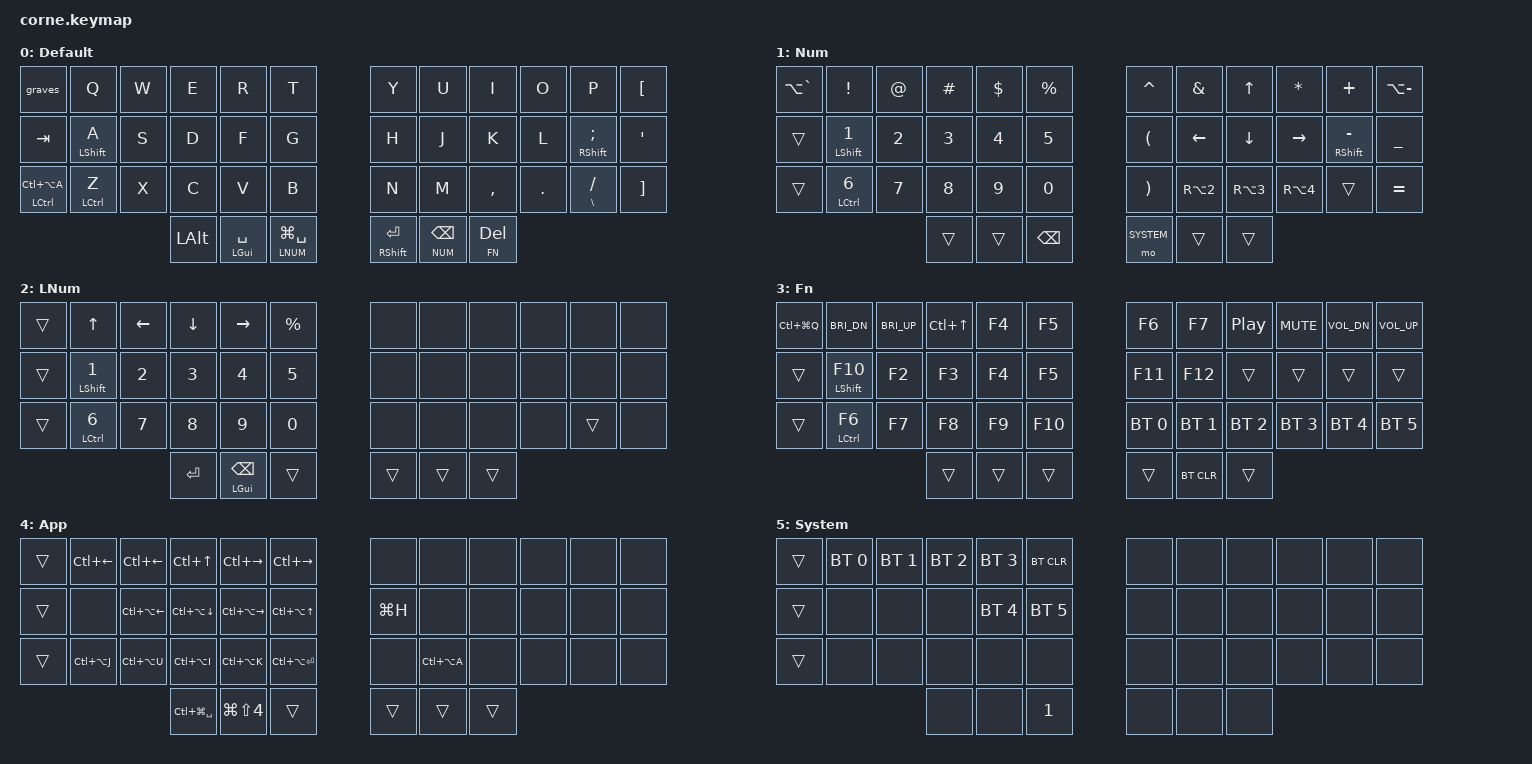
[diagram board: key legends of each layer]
/*
 * Copyright (c) 2020 The ZMK Contributors
 *
 * SPDX-License-Identifier: MIT
 */

#include <behaviors.dtsi>
#include <dt-bindings/zmk/keys.h>
#include <dt-bindings/zmk/bt.h>
#include <dt-bindings/zmk/outputs.h>

/* Слои клавиатуры */
#define DEFAULT 0  // Базовый слой
#define NUM     1  // Слой с цифрами
#define LNUM    2  // Альтернативный слой с цифрами (левая рука)
#define FN      3  // Функциональный слой
#define APP     4  // Слой для приложений
#define SYSTEM  5  // Системный слой

&lt { quick-tap-ms = <200>; };
&mt { quick-tap-ms = <200>; };


/ {
    combos {
        compatible = "zmk,combos";
        /* Комбо для клавиш F и J, теперь включает Caps Word */
        // combo_capslock_fj {
        //     timeout-ms = <50>;
        //     key-positions = <16 19>;
        //     bindings = <&caps_word>;
        // };
        
        /* Комбо для клавиш A и SEMI, используемое для активации capslock */
        combo_caps_asemi{
            timeout-ms = <50>;
            key-positions = <13 22>;
            bindings = <&kp CAPSLOCK>;
        };
    };

    behaviors {
        /* Модификатор для клавиши Grave/Escape */
        graves: grave_escape {
            compatible = "zmk,behavior-mod-morph";
            #binding-cells = <0>;
            bindings = <&lhp APP GRAVE>, <&kp ESC>; 
            mods = <(MOD_LGUI|MOD_RGUI)>;
        };
        
        /* Модификаторы для домашнего ряда (HOMEROW) */
        hm: homerow_mods {
            compatible = "zmk,behavior-hold-tap";
            #binding-cells = <2>;
            quick-tap-ms = <300>;
            flavor = "tap-preferred";
            bindings = <&kp>, <&kp>;
        };

        /* Модификаторы для домашнего ряда без быстрого тапа */
        hmt: homerow_mods_no_quicktap {
            compatible = "zmk,behavior-hold-tap";
            #binding-cells = <2>;
            quick-tap-ms = <200>;
            flavor = "balanced";
            bindings = <&kp>, <&kp>;
        };

        /* Приоритет тапа для переключения слоёв */
        ltp: layer_tap_prefered {
            compatible = "zmk,behavior-hold-tap";
            #binding-cells = <2>;
            quick-tap-ms = <100>;
            flavor = "tap-preferred";
            bindings = <&mo>, <&kp>;
        };

        /* Приоритет удержания для переключения слоёв */
        lhp: layer_hold_prefered {
            compatible = "zmk,behavior-hold-tap";
            #binding-cells = <2>;
            tapping-term-ms = <250>;
            flavor = "hold-preferred";
            bindings = <&mo>, <&kp>;
        };
        /* Настройка параметров удержания/тапа */


    keymap {
        compatible = "zmk,keymap";

        /* Основной слой клавиатуры */
        default_layer {
            label = "Default";
            bindings = <
                &graves                &kp Q          &kp W        &kp E   &kp R   &kp T         &kp Y        &kp U      &kp I         &kp O      &kp P             &kp LBKT
                &kp TAB                &hm LSHFT A    &kp S        &kp D   &kp F   &kp G         &kp H        &kp J      &kp K         &kp L      &hm RSHFT SEMI    &kp APOS
                &hm LCTRL LC(LA(A))    &hm LCTRL Z    &kp X        &kp C   &kp V   &kp B         &kp N        &kp M      &kp COMMA     &kp DOT    &mt BSLH FSLH     &kp RBKT
                                       &kp LALT       &hm LGUI SPACE   &ltp LNUM LG(SPACE)       &hm RSHFT ENTER   &lhp NUM BSPC     &ltp FN DEL
            >; 
        };

        /* Слой с цифрами и символами */
        num_layer {
            label = "Num";
            bindings = <
                &kp LA(GRAVE) &kp EXCL &kp AT &kp HASH &kp DLLR &kp PERCENT        &kp CARET      &kp AMPS      &kp UP      &kp STAR      &kp PLUS           &kp LA(MINUS)
                &trans        &hm LSHFT N1 &kp N2 &kp N3 &kp N4 &kp N5             &kp LPAR       &kp LEFT      &kp DOWN    &kp RIGHT     &hm RSHFT MINUS    &kp UNDER
                &trans        &hm LCTRL N6 &kp N7 &kp N8 &kp N9 &kp N0             &kp RPAR       &kp RA(N2)    &kp RA(N3)  &kp RA(N4)    &trans             &kp EQUAL
                              &trans        &trans        &kp BSPC                  &mo SYSTEM     &trans        &trans  
            >;
        };

        /* Альтернативный слой цифр (для левой руки) */
        lnum_layer {
            label = "LNum";
            bindings = <
                &trans     &kp UP     &kp LEFT  &kp DOWN  &kp RIGHT   &kp PERCENT       &none     &none       &none     &none       &none       &none
                &trans     &hm LSHFT N1 &kp N2 &kp N3 &kp N4 &kp N5                     &none     &none       &none     &none       &none       &none
                &trans     &hm LCTRL N6 &kp N7 &kp N8 &kp N9 &kp N0                     &none     &none       &none     &none       &trans      &none 
                                          &kp ENTER  &hm LGUI BSPC  &trans              &trans    &trans      &trans    
            >;
        };    

        /* Функциональный слой */
        fn_layer {
            label = "Fn";
            bindings = <
                &kp LC(LG(Q))  &kp C_BRI_DN  &kp C_BRI_UP  &kp LC(UP)  &kp F4  &kp F5   &kp F6          &kp F7          &kp C_PP        &kp C_MUTE      &kp C_VOL_DN  &kp C_VOL_UP
                &trans         &hm LSHFT F10 &kp F2        &kp F3      &kp F4  &kp F5   &kp F11         &kp F12         &trans          &trans          &trans        &trans
                &trans         &hm LCTRL F6  &kp F7        &kp F8      &kp F9  &kp F10  &bt BT_SEL 0    &bt BT_SEL 1    &bt BT_SEL 2    &bt BT_SEL 3    &bt BT_SEL 4  &bt BT_SEL 5
                                             &trans        &trans      &trans  &trans   &bt BT_CLR      &trans  
            >;
        };

        /* Слой для приложений с специфическими сочетаниями клавиш */
        app_layer {
            label = "App";
            bindings = <  
                &trans  &kp LC(LEFT)       &kp LC(LEFT)         &kp LC(UP)              &kp LC(RIGHT)            &kp LC(RIGHT)      &none   &none           &none     &none       &none         &none
                &trans  &none              &kp LC(LA(LEFT))     &kp LC(LA(DOWN))        &kp LC(LA(RIGHT))        &kp LC(LA(UP))     &kp LG(H)   &none       &none     &none       &none         &none
                &trans  &kp LC(LA(J))      &kp LC(LA(U))        &kp LC(LA(I))           &kp LC(LA(K))            &kp LC(LA(ENTER))  &none   &kp LC(LA(A))   &none     &none       &none         &none
                        &kp LC(LG(SPACE))  &kp LG(LS(N4))       &trans                                                               &trans  &trans          &trans
            >;
        };

        /* Системный слой для управления Bluetooth и т.д. */
        system_layer {
            label = "System";
            bindings = <
                &trans  &bt BT_SEL 0    &bt BT_SEL 1    &bt BT_SEL 2    &bt BT_SEL 3    &bt BT_CLR           &none        &none        &none        &none        &none   &none
                &trans  &none           &none           &none           &bt BT_SEL 4    &bt BT_SEL 5         &none        &none        &none        &none        &none   &none
                &trans  &none           &none           &none           &none           &none                &none        &none        &none        &none        &none   &none
                                        &none           &none           &kp N1          &none                &none        &none
            >;
        };
    };
};

